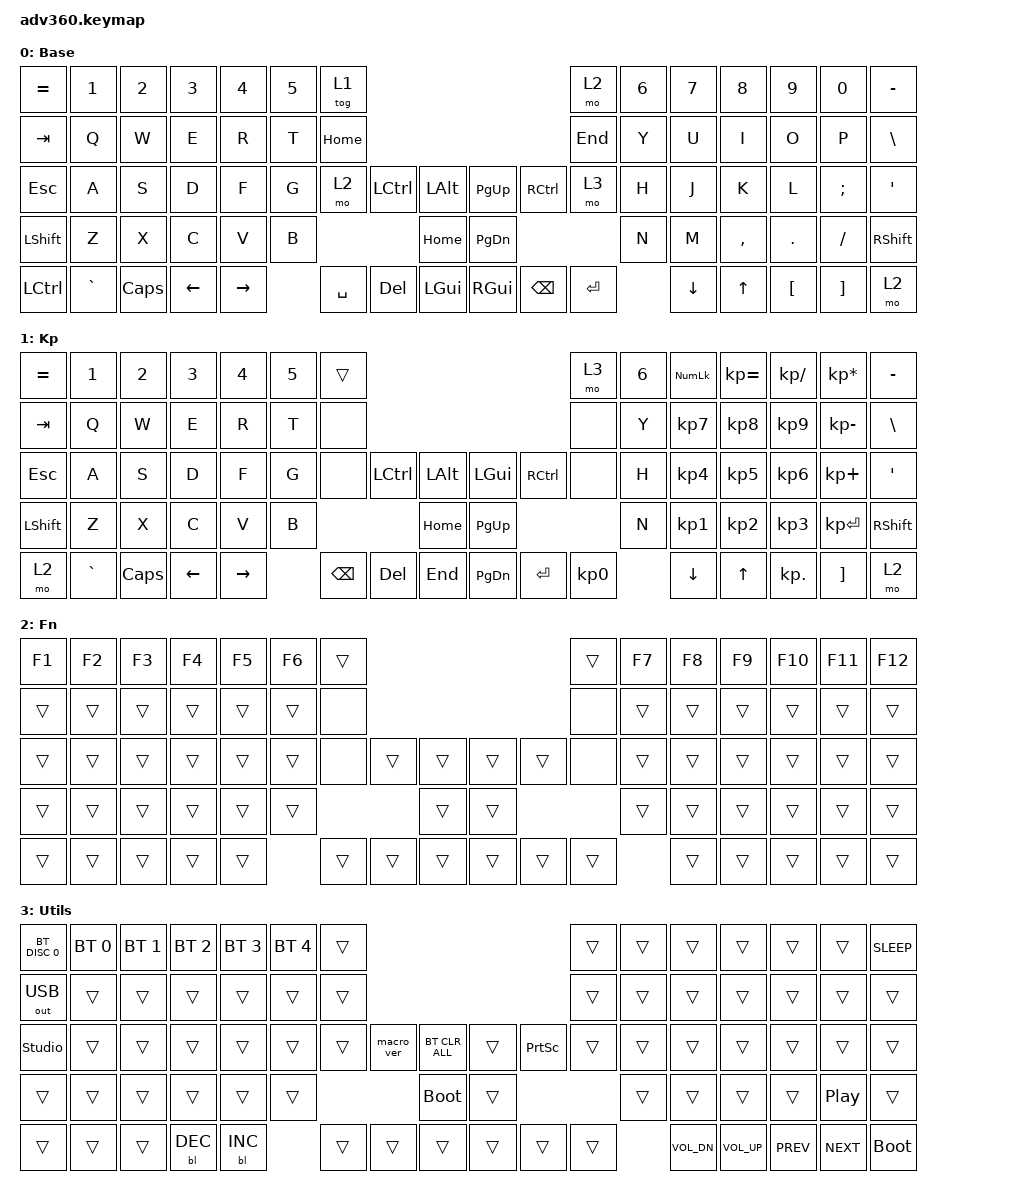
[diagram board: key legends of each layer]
#include <dt-bindings/zmk/stp.h>
#include <behaviors.dtsi>
#include <dt-bindings/zmk/backlight.h>
#include <dt-bindings/zmk/bt.h>
#include <dt-bindings/zmk/keys.h>
#include <dt-bindings/zmk/outputs.h>

/ {
    behaviors {
        #include "macros.dtsi"
        #include "version.dtsi"
    };

    keymap {
        compatible = "zmk,keymap";

        default_layer {
            display-name = "Base";
            bindings = <
&kp EQUAL         &kp N1     &kp N2    &kp N3    &kp N4     &kp N5  &tog 1                                                                &mo 2       &kp N6  &kp N7          &kp N8        &kp N9    &kp N0    &kp MINUS
&kp TAB           &kp Q      &kp W     &kp E     &kp R      &kp T   &kp HOME                                                              &kp END     &kp Y   &kp U           &kp I         &kp O     &kp P     &kp BSLH
&kp ESC           &kp A      &kp S     &kp D     &kp F      &kp G   &mo 2      &kp LCTRL  &kp LEFT_ALT      &kp PAGE_UP    &kp RCTRL      &mo 3       &kp H   &kp J           &kp K         &kp L     &kp SEMI  &kp SQT
&kp LSHFT         &kp Z      &kp X     &kp C     &kp V      &kp B                         &kp HOME          &kp PAGE_DOWN                             &kp N   &kp M           &kp COMMA     &kp DOT   &kp FSLH  &kp RSHFT
&kp LEFT_CONTROL  &kp GRAVE  &kp CAPS  &kp LEFT  &kp RIGHT          &kp SPACE  &kp DEL    &kp LEFT_GUI      &kp RIGHT_GUI  &kp BACKSPACE  &kp RETURN          &kp DOWN_ARROW  &kp UP_ARROW  &kp LBKT  &kp RBKT  &mo 2
>;
        };

        keypad {
            display-name = "Kp";
            bindings = <
&kp EQUAL  &kp N1     &kp N2    &kp N3    &kp N4     &kp N5  &trans                                                   &mo 3      &kp N6  &kp KP_NUM      &kp KP_EQUAL  &kp KP_DIVIDE  &kp KP_MULTIPLY  &kp MINUS
&kp TAB    &kp Q      &kp W     &kp E     &kp R      &kp T   &none                                                    &none      &kp Y   &kp KP_N7       &kp KP_N8     &kp KP_N9      &kp KP_MINUS     &kp BSLH
&kp ESC    &kp A      &kp S     &kp D     &kp F      &kp G   &none     &kp LCTRL  &kp LALT      &kp LGUI   &kp RCTRL  &none      &kp H   &kp KP_N4       &kp KP_N5     &kp KP_N6      &kp KP_PLUS      &kp SQT
&kp LSHFT  &kp Z      &kp X     &kp C     &kp V      &kp B                        &kp HOME      &kp PG_UP                        &kp N   &kp KP_N1       &kp KP_N2     &kp KP_N3      &kp KP_ENTER     &kp RSHFT
&mo 2      &kp GRAVE  &kp CAPS  &kp LEFT  &kp RIGHT          &kp BSPC  &kp DEL    &kp END       &kp PG_DN  &kp ENTER  &kp KP_N0          &kp DOWN_ARROW  &kp UP        &kp KP_DOT     &kp RBKT         &mo 2
>;
        };

        fn {
            display-name = "Fn";
            bindings = <
&kp F1  &kp F2  &kp F3  &kp F4  &kp F5  &kp F6  &trans                                      &trans  &kp F7  &kp F8  &kp F9  &kp F10  &kp F11  &kp F12
&trans  &trans  &trans  &trans  &trans  &trans  &none                                       &none   &trans  &trans  &trans  &trans   &trans   &trans
&trans  &trans  &trans  &trans  &trans  &trans  &none   &trans  &trans      &trans  &trans  &none   &trans  &trans  &trans  &trans   &trans   &trans
&trans  &trans  &trans  &trans  &trans  &trans                  &trans      &trans                  &trans  &trans  &trans  &trans   &trans   &trans
&trans  &trans  &trans  &trans  &trans          &trans  &trans  &trans      &trans  &trans  &trans          &trans  &trans  &trans   &trans   &trans
>;
        };

        utils {
            display-name = "Utils";
            bindings = <
&bt BT_DISC 0   &bt BT_SEL 0  &bt BT_SEL 1  &bt BT_SEL 2  &bt BT_SEL 3  &bt BT_SEL 4  &trans                                                           &trans  &trans  &trans        &trans        &trans      &trans            &kp C_SLEEP
&out OUT_USB    &trans        &trans        &trans        &trans        &trans        &trans                                                           &trans  &trans  &trans        &trans        &trans      &trans            &trans
&studio_unlock  &trans        &trans        &trans        &trans        &trans        &trans  &macro_ver  &bt BT_CLR_ALL      &trans  &kp PRINTSCREEN  &trans  &trans  &trans        &trans        &trans      &trans            &trans
&trans          &trans        &trans        &trans        &trans        &trans                            &bootloader         &trans                           &trans  &trans        &trans        &trans      &kp C_PLAY_PAUSE  &trans
&trans          &trans        &trans        &bl BL_DEC    &bl BL_INC                  &trans  &trans      &trans              &trans  &trans           &trans          &kp C_VOL_DN  &kp C_VOL_UP  &kp C_PREV  &kp C_NEXT        &bootloader
>;
        };
    };
};
